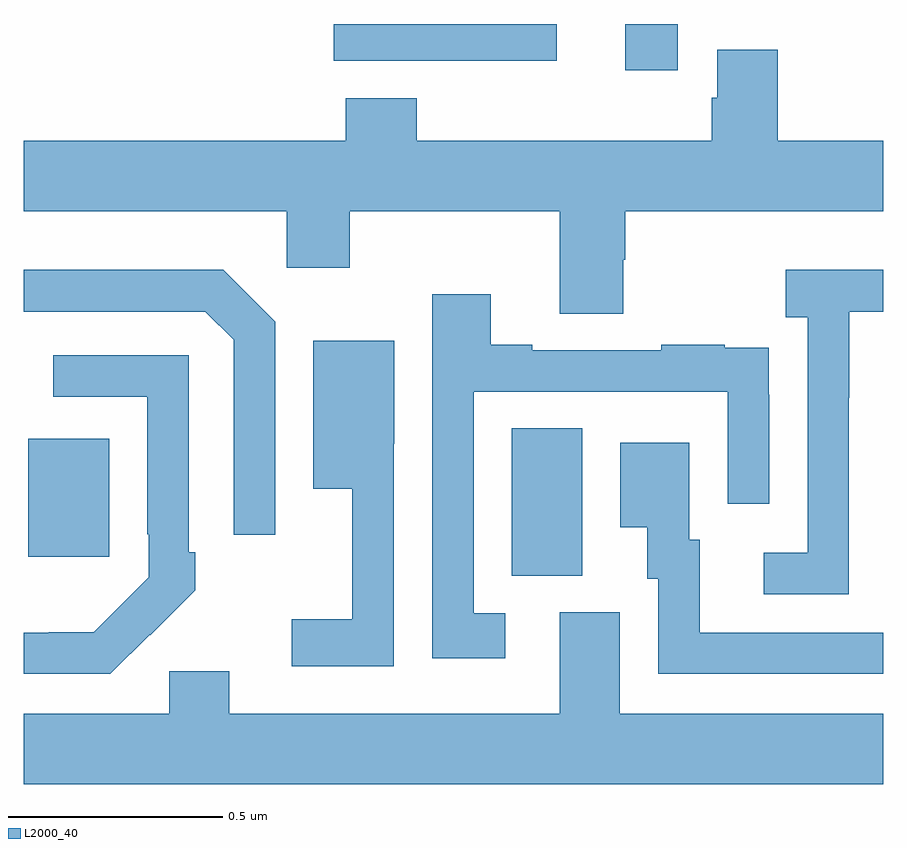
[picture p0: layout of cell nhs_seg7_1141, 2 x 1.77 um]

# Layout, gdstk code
import gdstk
lib = gdstk.Library(unit=1e-6, precision=1e-09)
def R(c, l, rs):  # rectangles x0, y0, x1, y1
    for r in rs: c.add(gdstk.rectangle(r[:2], r[2:], *l))
def P(c, l, *ps):  # polygons
    for p in ps: c.add(gdstk.Polygon(p, *l))
L2000_40 = (2000, 40)

nhs_seg7_1141 = lib.new_cell('nhs_seg7_1141')
R(nhs_seg7_1141, L2000_40, [(127.136,1051.717,127.3,1052.06), (126.011,1051.761,126.199,1052.035), (127.4,1052.892,127.522,1053), (126.722,1052.915,127.24,1053)])
P(nhs_seg7_1141, L2000_40, [(127.395,1052.451),(127.4,1052.451),(127.4,1052.564),(128,1052.564),(128,1052.728),(127.754,1052.728),(127.754,1052.94),(127.613,1052.94),(127.613,1052.829),(127.601,1052.829),(127.601,1052.728),(126.914,1052.728),(126.914,1052.827),(126.749,1052.827),(126.749,1052.728),(126,1052.728),(126,1052.564),(126.612,1052.564),(126.612,1052.433),(126.759,1052.433),(126.759,1052.564),(127.247,1052.564),(127.247,1052.326),(127.395,1052.326)],
  [(126.585,1052.307),(126.464,1052.428),(126,1052.428),(126,1052.331),(126.423,1052.331),(126.489,1052.265),(126.489,1051.812),(126.585,1051.812)],
  [(127.92,1052.131),(127.921,1052.131),(127.921,1052.331),(128,1052.331),(128,1052.428),(127.773,1052.428),(127.773,1052.318),(127.824,1052.318),(127.824,1051.77),(127.722,1051.77),(127.722,1051.674),(127.92,1051.674)],
  [(127.12,1051.629),(127.047,1051.629),(127.047,1052.145),(127.638,1052.145),(127.638,1051.884),(127.734,1051.884),(127.734,1052.138),(127.733,1052.138),(127.733,1052.247),(127.631,1052.247),(127.631,1052.254),(127.483,1052.254),(127.483,1052.241),(127.183,1052.241),(127.183,1052.254),(127.087,1052.254),(127.087,1052.371),(126.951,1052.371),(126.951,1051.524),(127.12,1051.524)],
  [(126.861,1052.023),(126.862,1052.023),(126.862,1052.263),(126.674,1052.263),(126.674,1051.919),(126.764,1051.919),(126.764,1051.615),(126.624,1051.615),(126.624,1051.506),(126.861,1051.506)],
  [(126.293,1051.579),(126.294,1051.578),(126.399,1051.683),(126.399,1051.771),(126.384,1051.771),(126.384,1052.229),(126.069,1052.229),(126.069,1052.133),(126.288,1052.133),(126.288,1051.813),(126.291,1051.813),(126.291,1051.713),(126.163,1051.585),(126.059,1051.585),(126.059,1051.584),(126,1051.584),(126,1051.488),(126.202,1051.488)],
  [(128,1051.584),(127.573,1051.584),(127.573,1051.8),(127.549,1051.8),(127.549,1052.026),(127.388,1052.026),(127.388,1051.829),(127.451,1051.829),(127.451,1051.71),(127.476,1051.71),(127.476,1051.488),(128,1051.488)],
  [(128,1051.396),(127.387,1051.396),(127.387,1051.632),(127.247,1051.632),(127.247,1051.396),(126.478,1051.396),(126.478,1051.494),(126.339,1051.494),(126.339,1051.396),(126,1051.396),(126,1051.232),(128,1051.232)])

lib.write_gds('nhs_seg7_1141.gds')
